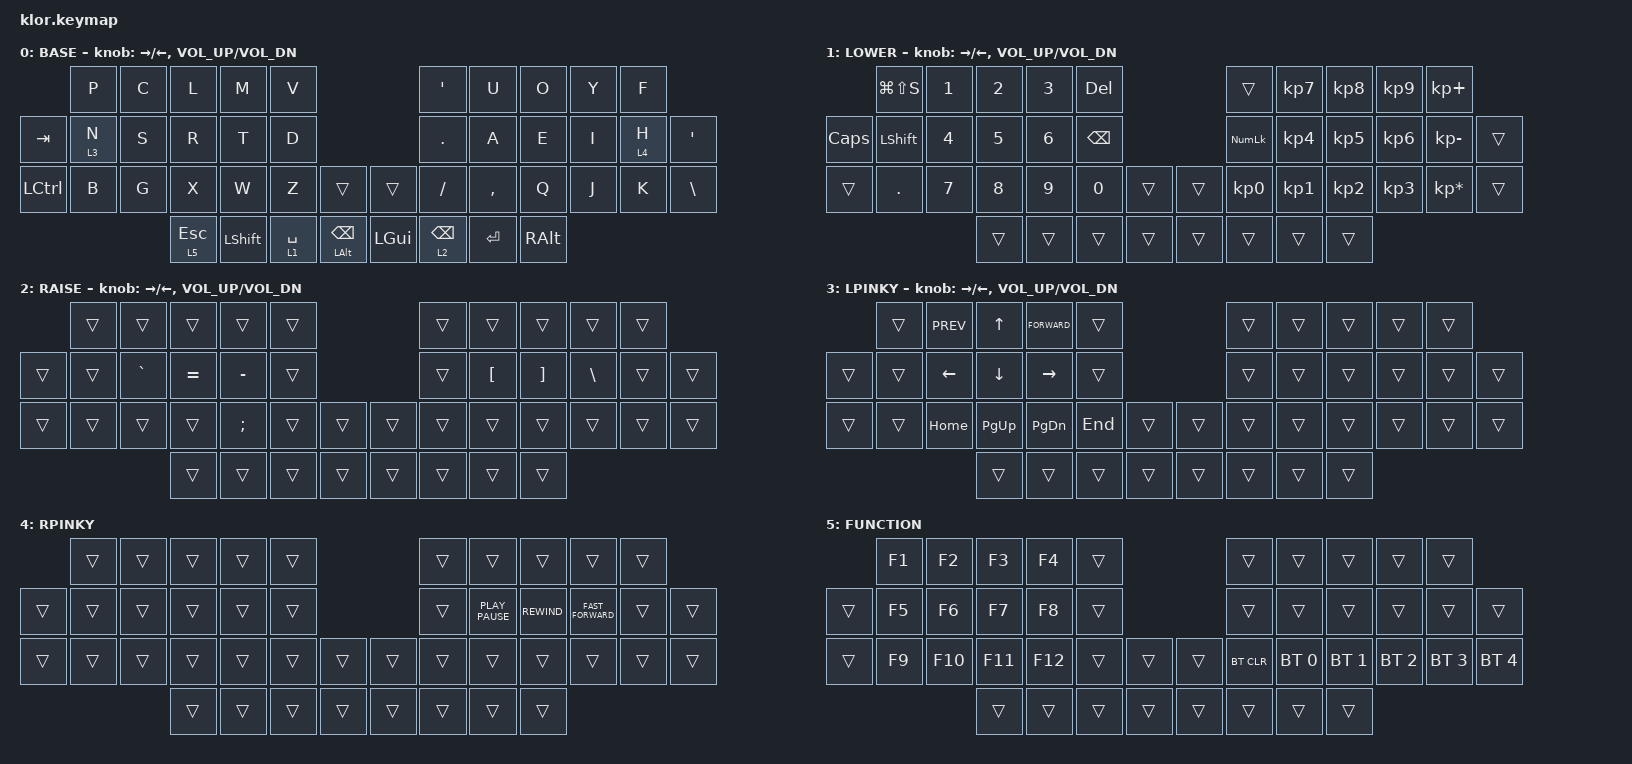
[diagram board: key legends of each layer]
//                               █         █    █            ▄▄▄▀▀▀▀▀▀▄▄▄        █▀▀▀▀▀▀▀▀▀▀█
//                               █        █     █          ▄▀            ▀▄      █          █
//                               █       █      █        ▄▀                ▀▄    █          █
//                               █      █       █        █                  █    █          █
//                               █     █        █       █                    █   █          █
//                               █    █         █       █                    █   █▄▄▄▄▄▄▄▄▄▄█
//                               █   █ █        █       █                    █   █      █
//                               █  █   █       █        █                  █    █       █
//                               █ █     █      █        ▀▄                ▄▀    █        █
//                               ██       █     █          ▀▄            ▄▀      █         █
//                               █         █    █▄▄▄▄▄▄▄▄    ▀▀▀▄▄▄▄▄▄▀▀▀        █          █
//
// ▄▄▄▄▄▄▄▄▄▄▄▄▄▄▄▄▄▄▄▄▄▄▄▄▄▄▄▄▄▄▄▄▄▄▄▄▄▄▄▄▄▄▄▄▄▄▄▄▄▄▄▄▄▄▄▄▄▄▄▄▄▄▄▄▄▄▄▄▄▄▄▄▄▄▄▄▄▄▄▄▄▄▄▄▄▄▄▄▄▄▄▄▄▄▄▄▄▄▄▄▄▄▄▄▄▄▄▄▄▄▄▄▄▄▄▄▄▄▄▄▄▄▄▄▄

#include <behaviors.dtsi>
#include <dt-bindings/zmk/bt.h>
#include <dt-bindings/zmk/keys.h>

#define BASE   0
#define LOWER  1
#define RAISE  2
#define ADJUST 3

/ {
    behaviors {
        hm: homerow_mods {
            compatible = "zmk,behavior-hold-tap";
            label = "HOMEROW_MODS";
            #binding-cells = <2>;
            tapping-term-ms = <150>;
            quick_tap_ms = <0>;
            flavor = "tap-preferred";
            bindings = <&kp>, <&kp>;
        };
    };

    combos {
        compatible = "zmk,combos";

        copycombo {
            bindings = <&kp LC(C)>;
            key-positions = <13 14>;
            timeout-ms = <30>;
            layers = <0>;
        };

        pastecombo {
            bindings = <&kp LC(V)>;
            key-positions = <14 25>;
            timeout-ms = <30>;
            require-prior-idle-ms = <30>;
            layers = <0>;
        };

        cutcombo {
            bindings = <&kp LC(X)>;
            key-positions = <13 3>;
            timeout-ms = <30>;
            require-prior-idle-ms = <30>;
            layers = <0>;
        };

        savecombo {
            bindings = <&kp LC(S)>;
            key-positions = <13 12>;
            timeout-ms = <30>;
            require-prior-idle-ms = <30>;
            layers = <0>;
        };

        undocombo {
            bindings = <&kp LC(Z)>;
            key-positions = <24 25>;
            timeout-ms = <30>;
            require-prior-idle-ms = <30>;
            layers = <0>;
        };

        redocombo {
            bindings = <&kp LC(LS(Z))>;
            key-positions = <24 26>;
            timeout-ms = <30>;
            require-prior-idle-ms = <30>;
            layers = <0>;
        };

        LOWERredoycombo {
            bindings = <&kp LC(Y)>;
            key-positions = <24 26>;
            timeout-ms = <30>;
            require-prior-idle-ms = <30>;
            layers = <1>;
        };

        alttab {
            bindings = <&kp LA(TAB)>;
            key-positions = <14 11>;
            timeout-ms = <30>;
            require-prior-idle-ms = <30>;
            layers = <0>;
        };

        clipboardpaste {
            bindings = <&kp LC(GRAVE)>;
            key-positions = <14 24>;
            timeout-ms = <30>;
            require-prior-idle-ms = <30>;
            layers = <0>;
        };

        gdlcopycombo {
            bindings = <&gallerydlcopy>;
            key-positions = <3 4>;
            timeout-ms = <30>;
            require-prior-idle-ms = <30>;
            layers = <0>;
        };

        gdlpastecombo {
            bindings = <&gallerydlpaste>;
            key-positions = <14 15>;
            timeout-ms = <30>;
            require-prior-idle-ms = <30>;
            layers = <0>;
        };

        entercombo {
            bindings = <&kp ENTER>;
            key-positions = <25 26>;
            timeout-ms = <30>;
            require-prior-idle-ms = <30>;
            layers = <0>;
        };

        ctrlbksp {
            bindings = <&kp LC(BACKSPACE)>;
            key-positions = <17 18>;
            timeout-ms = <30>;
            require-prior-idle-ms = <30>;
            layers = <0>;
        };

        ctrlcombo {
            bindings = <&kp LC(A)>;
            key-positions = <14 12>;
            timeout-ms = <30>;
            layers = <0>;
        };

        LPINKYtabright {
            bindings = <&kp LC(TAB)>;
            key-positions = <13 14>;
            timeout-ms = <30>;
            require-prior-idle-ms = <30>;
            layers = <3>;
        };

        LPINKYtableft {
            bindings = <&kp LC(LS(TAB))>;
            key-positions = <12 13>;
            timeout-ms = <30>;
            require-prior-idle-ms = <30>;
            layers = <3>;
        };

        LPINKYtabclose {
            bindings = <&kp LC(W)>;
            key-positions = <12 14>;
            timeout-ms = <30>;
            require-prior-idle-ms = <30>;
            layers = <3>;
        };

        LPINKYtabreopen {
            bindings = <&kp LC(LS(T))>;
            key-positions = <14 25>;
            timeout-ms = <30>;
            require-prior-idle-ms = <30>;
            layers = <3>;
        };

        LPINKYtabnew {
            bindings = <&kp LC(T)>;
            key-positions = <25 26>;
            timeout-ms = <30>;
            require-prior-idle-ms = <30>;
            layers = <3>;
        };

        LPINKYrefresh {
            bindings = <&kp K_REFRESH>;
            key-positions = <1 3>;
            timeout-ms = <30>;
            require-prior-idle-ms = <30>;
            layers = <3>;
        };

        comboaltf4 {
            bindings = <&kp LA(F4)>;
            key-positions = <14 38>;
            timeout-ms = <30>;
            require-prior-idle-ms = <30>;
            layers = <0>;
        };

        FLASHMODE {
            bindings = <&bootloader>;
            key-positions = <10 21>;
            timeout-ms = <30>;
            require-prior-idle-ms = <30>;
            layers = <5>;
        };
    };

    macros {
        gallerydlcopy: gallerydlcopy {
            compatible = "zmk,behavior-macro";
            #binding-cells = <0>;
            bindings = <&kp LC(C) &kp LA(TAB)>;
            label = "GALLERYDLCOPY";
        };

        gallerydlpaste: gallerydlpaste {
            compatible = "zmk,behavior-macro";
            #binding-cells = <0>;
            bindings = <&kp LC(V) &kp SPACE &kp LA(TAB)>;
            label = "GALLERYDLPASTE";
        };
    };

    keymap {
        compatible = "zmk,keymap";

        // ▄▄▄▄▄▄▄▄▄▄▄▄▄▄▄▄▄▄▄▄▄▄▄▄▄▄▄▄▄▄▄▄▄▄▄▄▄▄▄▄▄▄▄▄▄▄▄▄▄▄▄▄▄▄▄▄▄▄▄▄▄▄▄▄▄▄▄▄▄▄▄▄▄▄▄▄▄▄▄▄▄▄▄▄▄▄▄▄▄▄▄▄▄▄▄▄▄▄▄▄▄▄▄▄▄▄▄▄▄▄▄▄▄▄▄▄▄▄▄▄▄▄▄▄▄▄▄▄▄▄▄▄▄▄▄▄▄▄▄▄▄▄

        base_layer {
            // ┌───────────────────────────────────────────────────────────┐

            label = "BASE";

            // └───────────────────────────────────────────────────────────┘
            /*           ┌─────────┬─────────┬─────────┬─────────┬─────────┐                    ┌─────────┬─────────┬─────────┬─────────┬─────────┐
             │    Q    │    W    │    F    │    P    │    G    │                    │    J    │    L    │    U    │    Y    │    ;    │   
   ┌─────────┼─────────┼─────────┼─────────┼─────────┼─────────┤                    ├─────────┼─────────┼─────────┼─────────┼─────────┼─────────┐
   │   TAB   │    A    │    R    │    S    │    T    │    D    │                    │    H    │    N    │    E    │    I    │    O    │    "    │
   ├─────────┼─────────┼─────────┼─────────┼─────────┼─────────┤╭────────╮╭────────╮├─────────┼─────────┼─────────┼─────────┼─────────┼─────────┤
   │   DEL   │    Z    │    X    │    C    │    V    │    B    ││  MUTE  ││PLY/PSE ││    K    │    M    │    ,    │    .    │    /    │    \    │
   └─────────┴─────────┴─────────┼─────────┼─────────┼─────────┼╰────────╯╰────────╯┼─────────┼─────────┼─────────┼─────────┴─────────┴─────────┘
                                 │  CTRL   │  LOWER  │  SPACE  │   ALT   ││ CMD/WIN │  ENTER  │  RAISE  │  BSPCE  │  
                                 └─────────┴─────────┴─────────┴─────────┘└─────────┴─────────┴─────────┴─────────┘ */

            bindings = <
           &kp P    &kp C  &kp L         &kp M      &kp V                                      &kp APOSTROPHE   &kp U      &kp O          &kp Y  &kp F
&kp TAB    &lt 3 N  &kp S  &kp R         &kp T      &kp D                                      &kp DOT          &kp A      &kp E          &kp I  &lt 4 H  &kp SQT
&kp LCTRL  &kp B    &kp G  &kp X         &kp W      &kp Z        &trans              &trans    &kp FSLH         &kp COMMA  &kp Q          &kp J  &kp K    &kp BSLH
                           &lt 5 ESCAPE  &kp LSHFT  &lt 1 SPACE  &mt LALT BACKSPACE  &kp LGUI  &lt 2 BACKSPACE  &kp ENTER  &kp RIGHT_ALT
            >;

            sensor-bindings = <&inc_dec_kp RIGHT LEFT &inc_dec_kp C_VOL_UP C_VOL_DN>;
        };

        // ▄▄▄▄▄▄▄▄▄▄▄▄▄▄▄▄▄▄▄▄▄▄▄▄▄▄▄▄▄▄▄▄▄▄▄▄▄▄▄▄▄▄▄▄▄▄▄▄▄▄▄▄▄▄▄▄▄▄▄▄▄▄▄▄▄▄▄▄▄▄▄▄▄▄▄▄▄▄▄▄▄▄▄▄▄▄▄▄▄▄▄▄▄▄▄▄▄▄▄▄▄▄▄▄▄▄▄▄▄▄▄▄▄▄▄▄▄▄▄▄▄▄▄▄▄▄▄▄▄▄▄▄▄▄▄▄▄▄▄▄▄▄

        lower_layer {
            // ┌───────────────────────────────────────────────────────────┐

            label = "LOWER";

            // └───────────────────────────────────────────────────────────┘
            /*           ┌─────────┬─────────┬─────────┬─────────┬─────────┐                    ┌─────────┬─────────┬─────────┬─────────┬─────────┐
             │         │         │    UP   │         │    {    │                    │    }    │    7    │    8    │    9    │    +    │
   ┌─────────┼─────────┼─────────┼─────────┼─────────┼─────────┤                    ├─────────┼─────────┼─────────┼─────────┼─────────┼─────────┐
   │         │         │   LEFT  │  DOWN   │  RIGHT  │    [    │                    │    ]    │    4    │    5    │    6    │    -    │         │
   ├─────────┼─────────┼─────────┼─────────┼─────────┼─────────┤╭────────╮╭────────╮├─────────┼─────────┼─────────┼─────────┼─────────┼─────────┤
   │         │         │   P UP  │ C LOCK  │ P DOWN  │    (    ││        ││        ││    )    │    1    │    2    │    3    │    *    │         │
   └─────────┴─────────┴─────────┼─────────┼─────────┼─────────┼╰────────╯╰────────╯┼─────────┼─────────┼─────────┼─────────┴─────────┴─────────┘
                                 │         │         │         │         ││         │         │    0    │         │  
                                 └─────────┴─────────┴─────────┴─────────┘└─────────┴─────────┴─────────┴─────────┘ */

            bindings = <
              &kp LG(LS(S))   &kp N1  &kp N2  &kp N3  &kp DEL                   &trans          &kp KP_N7  &kp KP_N8  &kp KP_N9  &kp KP_PLUS
&kp CAPSLOCK  &kp LEFT_SHIFT  &kp N4  &kp N5  &kp N6  &kp BSPC                  &kp KP_NUMLOCK  &kp KP_N4  &kp KP_N5  &kp KP_N6  &kp KP_MINUS     &trans
&trans        &kp PERIOD      &kp N7  &kp N8  &kp N9  &kp N0    &trans  &trans  &kp KP_N0       &kp KP_N1  &kp KP_N2  &kp KP_N3  &kp KP_MULTIPLY  &trans
                                      &trans  &trans  &trans    &trans  &trans  &trans          &trans     &trans
            >;

            sensor-bindings = <&inc_dec_kp RIGHT LEFT &inc_dec_kp C_VOL_UP C_VOL_DN>;
        };

        // ▄▄▄▄▄▄▄▄▄▄▄▄▄▄▄▄▄▄▄▄▄▄▄▄▄▄▄▄▄▄▄▄▄▄▄▄▄▄▄▄▄▄▄▄▄▄▄▄▄▄▄▄▄▄▄▄▄▄▄▄▄▄▄▄▄▄▄▄▄▄▄▄▄▄▄▄▄▄▄▄▄▄▄▄▄▄▄▄▄▄▄▄▄▄▄▄▄▄▄▄▄▄▄▄▄▄▄▄▄▄▄▄▄▄▄▄▄▄▄▄▄▄▄▄▄

        raise_layer {
            // ┌───────────────────────────────────────────────────────────┐

            label = "RAISE";

            // └───────────────────────────────────────────────────────────┘
            /*           ┌─────────┬─────────┬─────────┬─────────┬─────────┐                    ┌─────────┬─────────┬─────────┬─────────┬─────────┐
             │         │         │         │         │         │                    │         │         │    Ü    │         │         │
   ┌─────────┼─────────┼─────────┼─────────┼─────────┼─────────┤                    ├─────────┼─────────┼─────────┼─────────┼─────────┼─────────┐
   │    Ä    │         │    ß    │         │         │         │                    │         │         │         │         │    Ö    │         │
   ├─────────┼─────────┼─────────┼─────────┼─────────┼─────────┤╭────────╮╭────────╮├─────────┼─────────┼─────────┼─────────┼─────────┼─────────┤
   │         │         │         │         │         │         ││        ││        ││         │         │         │         │         │         │
   └─────────┴─────────┴─────────┼─────────┼─────────┼─────────┼╰────────╯╰────────╯┼─────────┼─────────┼─────────┼─────────┴─────────┴─────────┘
                                 │ ADJUST  │         │         │         ││         │         │         │         │  
                                 └─────────┴─────────┴─────────┴─────────┘└─────────┴─────────┴─────────┴─────────┘ */

            bindings = <
        &trans  &trans     &trans     &trans     &trans                  &trans  &trans    &trans    &trans    &trans
&trans  &trans  &kp GRAVE  &kp EQUAL  &kp MINUS  &trans                  &trans  &kp LBKT  &kp RBKT  &kp BSLH  &trans  &trans
&trans  &trans  &trans     &trans     &kp SEMI   &trans  &trans  &trans  &trans  &trans    &trans    &trans    &trans  &trans
                           &trans     &trans     &trans  &trans  &trans  &trans  &trans    &trans
            >;

            sensor-bindings = <&inc_dec_kp RIGHT LEFT &inc_dec_kp C_VOL_UP C_VOL_DN>;
        };

        // ▄▄▄▄▄▄▄▄▄▄▄▄▄▄▄▄▄▄▄▄▄▄▄▄▄▄▄▄▄▄▄▄▄▄▄▄▄▄▄▄▄▄▄▄▄▄▄▄▄▄▄▄▄▄▄▄▄▄▄▄▄▄▄▄▄▄▄▄▄▄▄▄▄▄▄▄▄▄▄▄▄▄▄▄▄▄▄▄▄▄▄▄▄▄▄▄▄▄▄▄▄▄▄▄▄▄▄▄▄▄▄▄▄▄▄▄▄▄▄▄▄▄▄▄▄

        l_pinky {
            // ┌───────────────────────────────────────────────────────────┐

            label = "LPINKY";

            // └───────────────────────────────────────────────────────────┘
            /*           ┌─────────┬─────────┬─────────┬─────────┬─────────┐                    ┌─────────┬─────────┬─────────┬─────────┬─────────┐
             │         │         │         │         │         │                    │         │         │         │         │         │
   ┌─────────┼─────────┼─────────┼─────────┼─────────┼─────────┤                    ├─────────┼─────────┼─────────┼─────────┼─────────┼─────────┐
   │         │         │         │         │         │         │                    │         │         │         │         │         │         │
   ├─────────┼─────────┼─────────┼─────────┼─────────┼─────────┤╭────────╮╭────────╮├─────────┼─────────┼─────────┼─────────┼─────────┼─────────┤
   │         │         │         │         │         │         ││        ││        ││         │         │         │         │         │         │
   └─────────┴─────────┴─────────┼─────────┼─────────┼─────────┼╰────────╯╰────────╯┼─────────┼─────────┼─────────┼─────────┴─────────┴─────────┘
                                 │         │         │         │         ││         │         │         │         │  
                                 └─────────┴─────────┴─────────┴─────────┘└─────────┴─────────┴─────────┴─────────┘ */

            bindings = <
        &trans  &kp C_PREV  &kp UP     &kp K_FORWARD  &trans                   &trans  &trans  &trans  &trans  &trans
&trans  &trans  &kp LEFT    &kp DOWN   &kp RIGHT      &trans                   &trans  &trans  &trans  &trans  &trans  &trans
&trans  &trans  &kp HOME    &kp PG_UP  &kp PG_DN      &kp END  &trans  &trans  &trans  &trans  &trans  &trans  &trans  &trans
                            &trans     &trans         &trans   &trans  &trans  &trans  &trans  &trans
            >;

            sensor-bindings = <&inc_dec_kp RIGHT LEFT &inc_dec_kp C_VOL_UP C_VOL_DN>;
        };

        r_pinky {
            bindings = <
        &trans  &trans  &trans  &trans  &trans                  &trans  &trans            &trans        &trans              &trans
&trans  &trans  &trans  &trans  &trans  &trans                  &trans  &kp K_PLAY_PAUSE  &kp C_REWIND  &kp C_FAST_FORWARD  &trans  &trans
&trans  &trans  &trans  &trans  &trans  &trans  &trans  &trans  &trans  &trans            &trans        &trans              &trans  &trans
                        &trans  &trans  &trans  &trans  &trans  &trans  &trans            &trans
            >;

            label = "RPINKY";
        };

        f_layer {
            bindings = <
        &kp F1  &kp F2   &kp F3   &kp F4   &trans                  &trans      &trans        &trans        &trans        &trans
&trans  &kp F5  &kp F6   &kp F7   &kp F8   &trans                  &trans      &trans        &trans        &trans        &trans        &trans
&trans  &kp F9  &kp F10  &kp F11  &kp F12  &trans  &trans  &trans  &bt BT_CLR  &bt BT_SEL 0  &bt BT_SEL 1  &bt BT_SEL 2  &bt BT_SEL 3  &bt BT_SEL 4
                         &trans   &trans   &trans  &trans  &trans  &trans      &trans        &trans
            >;

            label = "FUNCTION";
        };
    };
};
